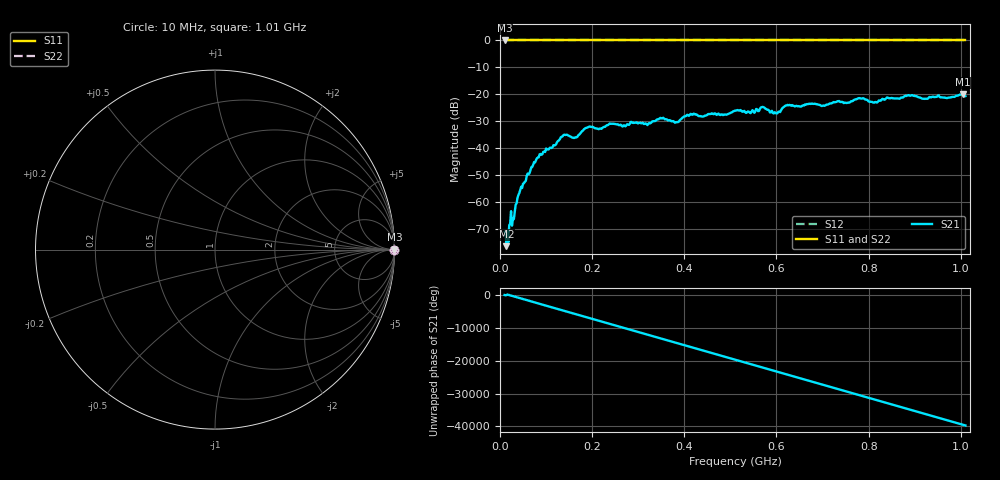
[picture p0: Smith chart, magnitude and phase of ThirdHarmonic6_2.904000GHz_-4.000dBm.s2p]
! 8/17/2025 8:01:55 AM
! C:\ANRITSUVNA\TEMP\TEMP.S2P
! CHANNEL.1
! TR.MEASUREMENT
! RAW.DATA
! RF.CORRECTION.OFF
! AVERAGING.OFF
! IF.BANDWIDTH: 5KHZ
! SWEEPTYPE:  FREQ.SWEEP(Linear)
! Reference Plane Port Info
! PORT:  PORT1  PORT2
! DISTANCE:  0  m  0  m
! TIME:  0  s  0  s
! PHASE.OFFSET:  0  deg.  0  deg.
! LOSS:  0  dB  0  dB
! REF.LOSS:  0  dB  0  dB
! REF.FREQ:  0  Hz  0  Hz
! Power Info
! POWER:  -20  dBm  -20  dBm
! EFF.POWER:  -20  dBm  -20  dBm
! SOURCE.ATTEN:  0  dB  0  dB
! TEST.ATTEN:  0  dB  0  dB
# GHZ S RI R 50.0
! FREQ.GHZ  S11RE  S11IM  S21RE  S21IM  S12RE  S12IM  S22RE  S22IM
!; PortSelection: Port_12
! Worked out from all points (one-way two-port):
!   501 points, 10 MHz to 1.01 GHz, reference 50 ohm
!   highest |S21| = -19.99 dB at 1.004 GHz (marker M1); lowest = -76.4 dB at 14 MHz (marker M2)
!   lowest |S11| = 0.0 dB at 10 MHz (marker M3)
!   |S11| at or under -10 dB: nowhere
!   |S22| runs from 0.0 to 0.0 dB; largest |S21 - S12| = 1.1
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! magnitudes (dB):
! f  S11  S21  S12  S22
! 10 MHz  0.0  -71.0  0.0  0.0
! 14 MHz  0.0  -76.4  0.0  0.0
! 30 MHz  0.0  -66.4  0.0  0.0
! 42 MHz  0.0  -56.6  0.0  0.0
! 82 MHz  0.0  -43.5  0.0  0.0
! 136 MHz  0.0  -35.6  0.0  0.0
! 164 MHz  0.0  -36.0  0.0  0.0
! 178 MHz  0.0  -33.7  0.0  0.0
! 194 MHz  0.0  -32.0  0.0  0.0
! 344 MHz  0.0  -29.3  0.0  0.0
! 384 MHz  0.0  -30.3  0.0  0.0
! 410 MHz  0.0  -28.0  0.0  0.0
! 510 MHz  0.0  -26.1  0.0  0.0
! 570 MHz  0.0  -24.7  0.0  0.0
! 598 MHz  0.0  -26.9  0.0  0.0
! 624 MHz  0.0  -23.9  0.0  0.0
! 678 MHz  0.0  -23.5  0.0  0.0
! 782 MHz  0.0  -21.5  0.0  0.0
! 814 MHz  0.0  -22.9  0.0  0.0
! 844 MHz  0.0  -21.4  0.0  0.0
! 1.004 GHz  0.0  -20.0  0.0  0.0
! 1.01 GHz  0.0  -20.7  0.0  0.0
